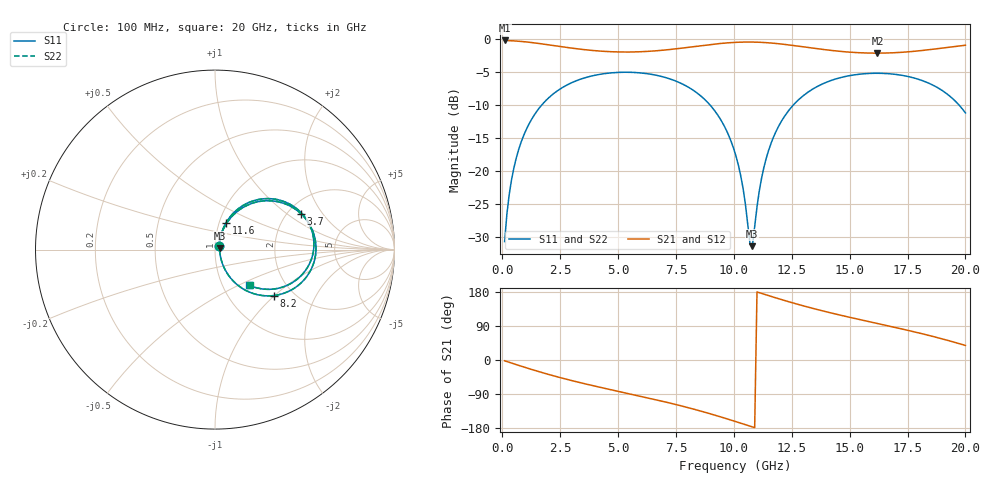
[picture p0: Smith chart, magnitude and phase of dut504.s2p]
! Touchstone file exported from HFSS 2026.1.0
!  File:  C:/ffzhzh/LocalFiles/Ansys_Project_Files/temp_train_TSV_RDL_504_1783108031_35180.aedt
!  Generated:  04:02:34 AM Jul  4, 2026
!  Design:  TSV_RDL
!  Project:  temp_train_TSV_RDL_504_1783108031_35180
! Variables:
!  h_bsmrdl = 5.59um
!  h_ox = 20um
!  h_rdl = 5um
!  h_sub = 83.9um
!  h_tmrdl = 4.36um
!  h_tsv = 83.9um
!  h_via = 3um
!  l_bsmrdl = 778.1um
!  l_sub = 5551.23um
!  l_tmrdl = 671.9um
!  m_sub = 200um
!  pitch = 54.45um
!  r_tsv = 7.65um
!  s_tmrdl = 10um
!  w_bsmrdl = 23.97um
!  w_sub = 500um
!  w_tmrdl = 19.14um
!  x_tsv_center1 = 681.47um
!  x_tsv_center2 = 1483.54um
!  x_tsv_center3 = 2174.58um
!  x_tsv_center4 = 2976.65um
!  x_tsv_center5 = 3667.69um
!  x_tsv_center6 = 4469.76um
# GHz S MA R 50.000000
! Terminal data exported
! Port[1] = TM_RDL1_1_T1
! Port[2] = TM_RDL5_1_T1
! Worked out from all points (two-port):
!   200 points, 100 MHz to 20 GHz, reference 50 ohm
!   highest |S21| = -0.17 dB at 100 MHz (marker M1); lowest = -2.1 dB at 16.2 GHz (marker M2)
!   |S21| within 3 dB of the highest: start of sweep to end of sweep
!   lowest |S11| = -31.4 dB at 10.8 GHz (marker M3), VSWR 1.06, Z = 52.6 + j0.961 ohm
!   |S11| at or under -10 dB: start of sweep to 1.696 GHz; 8.979 GHz to 12.56 GHz (3.584 GHz wide, 33.3 % of centre); 19.73 GHz to end of sweep
!   |S22| runs from -31.3 to -5.0 dB; largest |S21 - S12| = 1.7e-14
!   S11 on the Smith chart (normalised r, x): 100 MHz: 1.04, +0.04; 3.7 GHz: 2.34, +1.28; 8.2 GHz: 1.60, -0.99; 11.6 GHz: 1.08, +0.33; 20 GHz: 1.33, -0.58
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0.1  0.02916 46.5  0.9805 -2.1  0.9805 -2.1  0.02916 46.5
! Gamma 0 0 0 0
! Port Impedance 50 0 50 0
0.3  0.06674 65.6  0.9771 -6.1  0.9771 -6.1  0.06674 65.6
0.5  0.1057 68.0  0.9729 -10.1  0.9729 -10.1  0.1057 68.0
1.1  0.2183 62.1  0.9528 -21.8  0.9528 -21.8  0.2183 62.1
2.1  0.3726 46.4  0.9032 -39.8  0.9032 -39.8  0.3726 46.4
3.5  0.5065 25.5  0.8366 -61.8  0.8366 -61.8  0.5065 25.5
3.7  0.5186 22.8  0.8294 -64.7  0.8294 -64.7  0.5186 22.8
6.8  0.5267 -18.0  0.8228 -107.2  0.8228 -107.2  0.5267 -18.0
8.2  0.4161 -38.0  0.8773 -128.6  0.8773 -128.6  0.4161 -38.0
9.3  0.2672 -54.6  0.9256 -147.7  0.9256 -147.7  0.2673 -54.6
10.1  0.1286 -63.3  0.9491 -162.8  0.9491 -162.8  0.1286 -63.3
10.4  0.07366 -60.2  0.953 -168.7  0.953 -168.7  0.0737 -60.0
10.7  0.02794 -19.6  0.9539 -174.6  0.9539 -174.6  0.02804 -19.5
10.8  0.02696 19.8  0.9534 -176.5  0.9534 -176.5  0.02707 19.7
11.2  0.08894 67.5  0.9482 175.7  0.9482 175.7  0.08897 67.4
11.6  0.1613 67.6  0.9379 168.0  0.9379 168.0  0.1613 67.6
12.3  0.2776 58.9  0.9105 155.0  0.9105 155.0  0.2776 58.9
13.4  0.4187 42.6  0.8579 136.4  0.8579 136.4  0.4187 42.6
16.2  0.5529 5.3  0.7855 96.4  0.7855 96.4  0.5529 5.4
16.7  0.5483 -1.0  0.7883 89.6  0.7883 89.6  0.5484 -1.0
18.6  0.449 -26.3  0.8411 62.1  0.8411 62.1  0.449 -26.3
20  0.2766 -46.1  0.9017 38.4  0.9017 38.4  0.2766 -46.0
